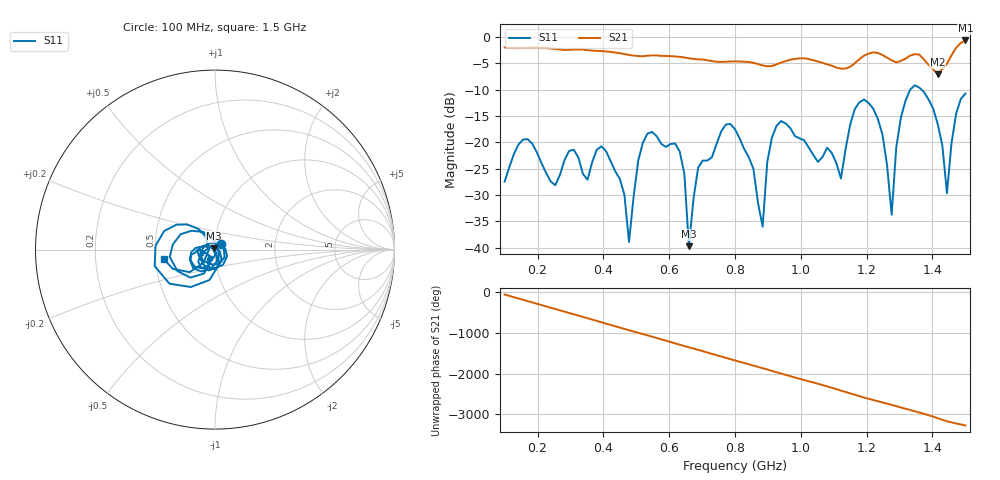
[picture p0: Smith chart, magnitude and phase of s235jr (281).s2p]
! NanoVNA-App
! Date: 2025-09-25 15:06:21
! Start: 100MHz Stop: 1,5GHz Points: 101
! S-Parameter data: F S11 S21 S12 S22
# Hz S RI R 50
!  Frequency  S11_Real  S11_Imag  S21_Real  S21_Imag  S12_Real  S12_Imag  S22_Real  S22_Imag
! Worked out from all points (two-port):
!   101 points, 100 MHz to 1.5 GHz, reference 50 ohm
!   highest |S21| = -0.62 dB at 1.5 GHz (marker M1); lowest = -7.0 dB at 1.416 GHz (marker M2)
!   |S21| within 3 dB of the highest: start of sweep to 517.3 MHz; 521.1 MHz to 606.8 MHz (85.74 MHz wide, 15.2 % of centre) (the widest 2 of 5)
!   lowest |S11| = -39.7 dB at 660 MHz (marker M3), VSWR 1.02, Z = 49.2 + j0.65 ohm
!   |S11| at or under -10 dB: start of sweep to 1.332 GHz; 1.367 GHz to end of sweep
!   S12 and S22 are empty: the file has one direction only
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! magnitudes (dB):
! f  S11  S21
! 100 MHz  -27.5  -2.0
! 156 MHz  -19.5  -2.1
! 338 MHz  -26.0  -2.4
! 408 MHz  -21.6  -2.7
! 478 MHz  -38.9  -3.4
! 520 MHz  -20.1  -3.6
! 576 MHz  -20.3  -3.5
! 632 MHz  -21.7  -3.7
! 660 MHz  -39.7  -4.0
! 688 MHz  -24.8  -4.2
! 800 MHz  -17.5  -4.6
! 884 MHz  -36.0  -5.4
! 926 MHz  -16.9  -5.2
! 1.038 GHz  -22.4  -4.4
! 1.122 GHz  -26.9  -6.0
! 1.206 GHz  -12.5  -3.1
! 1.276 GHz  -33.7  -4.4
! 1.29 GHz  -20.9  -4.8
! 1.332 GHz  -10.0  -3.5
! 1.416 GHz  -16.5  -7.0
! 1.444 GHz  -29.6  -5.1
! 1.5 GHz  -10.7  -0.6
